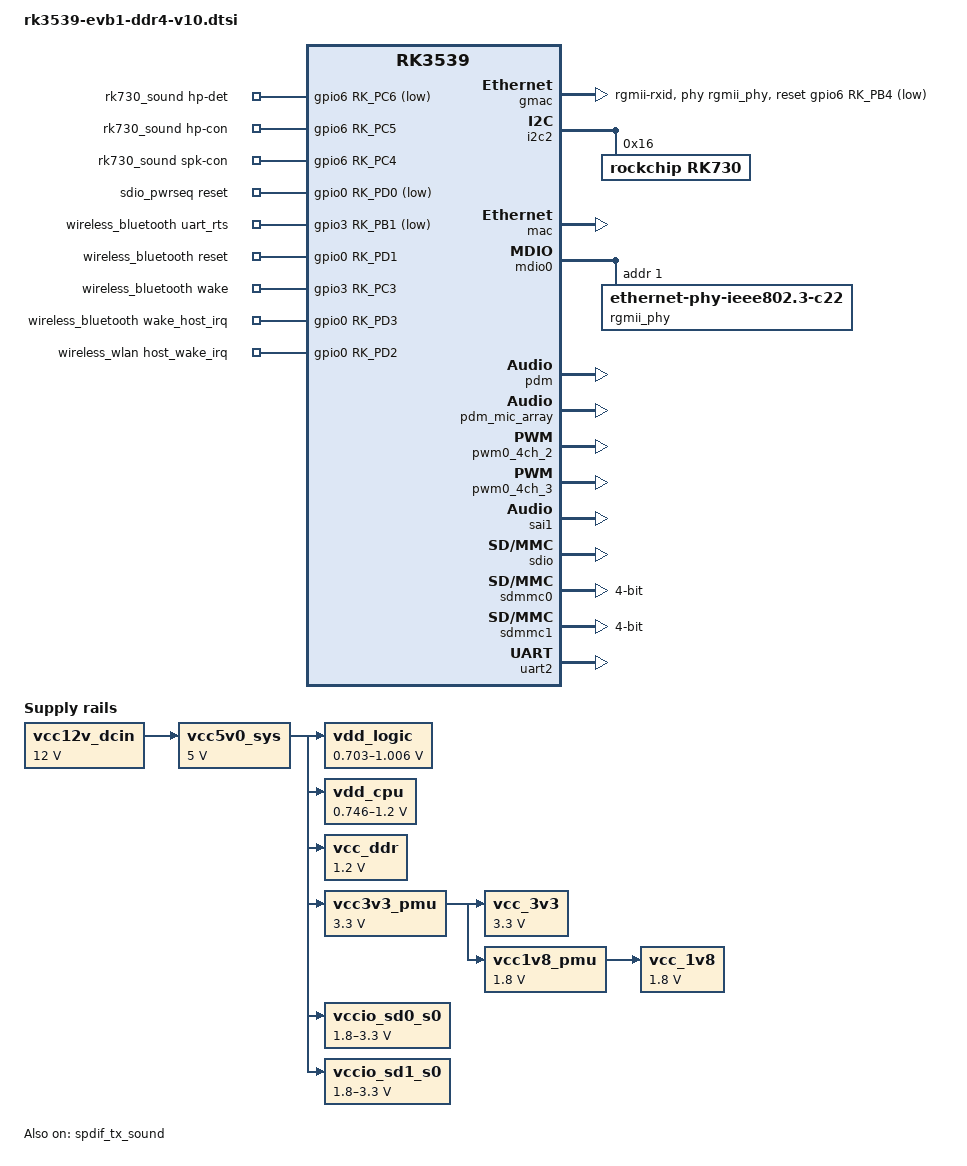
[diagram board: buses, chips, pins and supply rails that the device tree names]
// SPDX-License-Identifier: (GPL-2.0+ OR MIT)
/*
 * Copyright (c) 2025 Rockchip Electronics Co., Ltd.
 *
 */

/dts-v1/;

#include "rk3539.dtsi"
#include "rk3538-evb.dtsi"
#include "rk3538-evb-input-keymap.dtsi"

/{
	rk730_sound: rk730-sound {
		compatible = "rockchip,multicodecs-card";
		rockchip,card-name = "rockchip-rk730";
		hp-det-gpio = <&gpio6 RK_PC6 GPIO_ACTIVE_LOW>;
		hp-con-gpio = <&gpio6 RK_PC5 GPIO_ACTIVE_HIGH>;
		spk-con-gpio = <&gpio6 RK_PC4 GPIO_ACTIVE_HIGH>;
		rockchip,pre-power-on-delay-ms = <30>;
		rockchip,post-power-down-delay-ms = <40>;
		rockchip,format = "i2s";
		rockchip,mclk-fs = <256>;
		rockchip,cpu = <&sai1>;
		rockchip,codec = <&rk730>;
		rockchip,audio-routing =
				"Headphone", "LOUT1",
				"Headphone", "ROUT1",
				"Speaker", "LOUT2",
				"Speaker", "ROUT2",
				"Headphone", "Headphone Power",
				"Headphone", "Headphone Power",
				"Speaker", "Speaker Power",
				"Speaker", "Speaker Power",
				"MIC2", "Main Mic",
				"MIC1", "Headset Mic";
		pinctrl-names = "default";
		pinctrl-0 = <&hp_con_h &hp_det_l &spk_con_h>;
	};

	sdio_pwrseq: sdio-pwrseq {
		compatible = "mmc-pwrseq-simple";
		pinctrl-names = "default";
		pinctrl-0 = <&wifi_enable_h &clk_32km0_pins>;
		post-power-on-delay-ms = <200>;
		reset-gpios = <&gpio0 RK_PD0 GPIO_ACTIVE_LOW>;
		status = "okay";
	};

	vcc12v_dcin: vcc12v-dcin {
		compatible = "regulator-fixed";
		regulator-name = "vcc12v_dcin";
		regulator-always-on;
		regulator-boot-on;
		regulator-min-microvolt = <12000000>;
		regulator-max-microvolt = <12000000>;
	};

	vcc5v0_sys: vcc5v0-sys {
		compatible = "regulator-fixed";
		regulator-name = "vcc5v0_sys";
		regulator-always-on;
		regulator-boot-on;
		regulator-min-microvolt = <5000000>;
		regulator-max-microvolt = <5000000>;
		vin-supply = <&vcc12v_dcin>;
	};

	vdd_logic: vdd-logc {
		compatible = "pwm-regulator";
		pwms = <&pwm0_4ch_2 0 25000 1>;
		regulator-name = "vdd_logic";
		regulator-init-microvolt = <901000>;
		regulator-min-microvolt = <703000>;
		regulator-max-microvolt = <1006000>;
		regulator-settling-time-up-us = <250>;
		regulator-always-on;
		regulator-boot-on;
		pwm-supply = <&vcc5v0_sys>;
	};

	vdd_cpu: vdd-cpu {
		compatible = "pwm-regulator";
		pwms = <&pwm0_4ch_3 0 25000 1>;
		regulator-name = "vdd_cpu";
		regulator-init-microvolt = <953000>;
		regulator-min-microvolt = <746000>;
		regulator-max-microvolt = <1200000>;
		regulator-settling-time-up-us = <250>;
		regulator-always-on;
		regulator-boot-on;
		pwm-supply = <&vcc5v0_sys>;
	};

	vcc_ddr: vcc-ddr {
		compatible = "regulator-fixed";
		regulator-name = "vcc_ddr";
		regulator-min-microvolt = <1200000>;
		regulator-max-microvolt = <1200000>;
		enable-active-low;
		regulator-boot-on;
		vin-supply = <&vcc5v0_sys>;
	};

	vcc3v3_pmu: vcc3v3-pmu {
		compatible = "regulator-fixed";
		regulator-name = "vcc3v3_pmu";
		regulator-min-microvolt = <3300000>;
		regulator-max-microvolt = <3300000>;
		enable-active-low;
		regulator-boot-on;
		vin-supply = <&vcc5v0_sys>;
	};

	vcc_3v3: vcc_3v3 {
		compatible = "regulator-fixed";
		regulator-name = "vcc_3v3";
		regulator-min-microvolt = <3300000>;
		regulator-max-microvolt = <3300000>;
		enable-active-low;
		regulator-boot-on;
		vin-supply = <&vcc3v3_pmu>;
	};

	vcc1v8_pmu: vcc1v8-pmu {
		compatible = "regulator-fixed";
		regulator-name = "vcc1v8_pmu";
		regulator-min-microvolt = <1800000>;
		regulator-max-microvolt = <1800000>;
		enable-active-low;
		regulator-boot-on;
		vin-supply = <&vcc3v3_pmu>;
	};

	vcc_1v8: vcc-1v8 {
		compatible = "regulator-fixed";
		regulator-name = "vcc_1v8";
		regulator-min-microvolt = <1800000>;
		regulator-max-microvolt = <1800000>;
		enable-active-low;
		regulator-boot-on;
		vin-supply = <&vcc1v8_pmu>;
	};

	vccio_sd0_s0: vccio-sd0-s0 {
		compatible = "regulator-gpio";
		regulator-name = "vccio_sd0_s0";
		regulator-min-microvolt = <1800000>;
		regulator-max-microvolt = <3300000>;
		gpios = <&gpio6 RK_PA7 GPIO_ACTIVE_HIGH>;
		vin-supply = <&vcc5v0_sys>;
		states = <1800000 0x0
			  3300000 0x1>;
	};

	vccio_sd1_s0: vccio-sd1-s0 {
		compatible = "regulator-gpio";
		regulator-name = "vccio_sd1_s0";
		regulator-min-microvolt = <1800000>;
		regulator-max-microvolt = <3300000>;
		gpios = <&gpio6 RK_PB0 GPIO_ACTIVE_HIGH>;
		vin-supply = <&vcc5v0_sys>;
		states = <1800000 0x0
			  3300000 0x1>;
	};

	wireless_bluetooth: wireless-bluetooth {
		compatible = "bluetooth-platdata";
		uart_rts_gpios = <&gpio3 RK_PB1 GPIO_ACTIVE_LOW>;
		pinctrl-names = "default", "rts_gpio";
		pinctrl-0 = <&uart2m0_rtsn_pins>;
		pinctrl-1 = <&uart2m0_gpios>;
		BT,reset_gpio    = <&gpio0 RK_PD1 GPIO_ACTIVE_HIGH>;
		BT,wake_gpio     = <&gpio3 RK_PC3 GPIO_ACTIVE_HIGH>;
		BT,wake_host_irq = <&gpio0 RK_PD3 GPIO_ACTIVE_HIGH>;
		status = "okay";
	};

	wireless_wlan: wireless-wlan {
		compatible = "wlan-platdata";
		wifi_chip_type = "ap6275s";
		pinctrl-names = "default";
		pinctrl-0 = <&wifi_host_wake_irq>;
		WIFI,host_wake_irq = <&gpio0 RK_PD2 GPIO_ACTIVE_HIGH>;
		status = "okay";
	};
};

&cpu0 {
	cpu-supply = <&vdd_cpu>;
};

&cpu2 {
	cpu-supply = <&vdd_cpu>;
};

&gmac {
	/* Use rgmii-rxid mode to disable rx delay inside Soc */
	phy-mode = "rgmii-rxid";
	clock_in_out = "output";

	snps,reset-gpio = <&gpio6 RK_PB4 GPIO_ACTIVE_LOW>;
	snps,reset-active-low;
	/* Reset time is 20ms, 100ms for rtl8211f */
	snps,reset-delays-us = <0 20000 100000>;

	tx_delay = <0x29>;
	/* rx_delay = <0x1a>; */

	pinctrl-names = "default";
	pinctrl-0 = <&eth0_miim_pins
		     &eth0_tx_bus2_pins
		     &eth0_rx_bus2_pins
		     &eth0_rgmii_clk_pins
		     &eth0_rgmii_bus_pins
		     &eth0m0_clk_25m_out_pins>;

	phy-handle = <&rgmii_phy>;
	status = "okay";
};

&gpu {
	mali-supply = <&vdd_logic>;
};

&i2c2 {
	status = "okay";

	pinctrl-names = "default";
	pinctrl-0 = <&i2c2m2_pins>;

	rk730: rk730@16 {
		#sound-dai-cells = <0>;
		compatible = "rockchip,rk730";
		reg = <0x16>;
		clocks = <&mclkout_sai1>;
		clock-names = "mclk";
		assigned-clocks = <&mclkout_sai1>;
		assigned-clock-rates = <12288000>;
		pinctrl-names = "default";
		pinctrl-0 = <&sai1m0_mclk_pins>;
	};
};

&mac {
	status = "okay";
};

&mdio0 {
	rgmii_phy: phy@1 {
		compatible = "ethernet-phy-ieee802.3-c22";
		reg = <0x1>;
		clocks = <&cru ETH0_CLK_25M_OUT>;
	};
};

&pdm {
	pinctrl-0 = <&pdmm0_sdi1_pins>;
	pinctrl-1 = <&pdmm0_clk0_idle>;
	pinctrl-2 = <&pdmm0_clk0_pins>;
	rockchip,path-map = <1 0 2 3>;
	status = "okay";
};

&pdm_mic_array {
	status = "okay";
};

&pinctrl {
	audio-amplifier {
		spk_con_h: spk-con-h {
			rockchip,pins = <6 RK_PC4 RK_FUNC_GPIO &pcfg_pull_none>;
		};
	};

	headphone-jack {
		hp_con_h: hp-con-h {
			rockchip,pins = <6 RK_PC5 RK_FUNC_GPIO &pcfg_pull_none>;
		};

		hp_det_l: hp-det-l {
			rockchip,pins = <6 RK_PC6 RK_FUNC_GPIO &pcfg_pull_up>;
		};
	};

	sdio-pwrseq {
		wifi_enable_h: wifi-enable-h {
			rockchip,pins = <0 RK_PD0 RK_FUNC_GPIO &pcfg_pull_none>;
		};
	};

	wireless-bluetooth {
		uart2m0_gpios: uart2m0-gpios {
			rockchip,pins = <3 RK_PB1 RK_FUNC_GPIO &pcfg_pull_none>;
		};
	};

	wireless-wlan {
		wifi_host_wake_irq: wifi-host-wake-irq {
			rockchip,pins = <0 RK_PD2 RK_FUNC_GPIO &pcfg_pull_down>;
		};
	};
};

&pwm0_4ch_2 {
	status = "okay";
};

&pwm0_4ch_3 {
	pinctrl-0 = <&pwm0m1_ch3_pins>;
	status = "okay";
};

&sai1 {
	status = "okay";
	pinctrl-names = "default";
	pinctrl-0 = <&sai1m0_lrck_pins
		     &sai1m0_sclk_pins
		     &sai1m0_sdi0_pins
		     &sai1m0_sdo0_pins>;
};

&sdio {
	mmc-pwrseq = <&sdio_pwrseq>;
	status = "okay";
};

&sdmmc0 {
	bus-width = <4>;
	cap-mmc-highspeed;
	cap-sd-highspeed;
	disable-wp;
	no-sdio;
	no-mmc;
	max-frequency = <200000000>;
	pinctrl-names = "default";
	pinctrl-0 = <&sdmmc0_clk_pins &sdmmc0_cmd_pins &sdmmc0_detn_pins &sdmmc0_bus4_pins &sdmmc0_pwren_pins>;
	sd-uhs-sdr12;
	sd-uhs-sdr25;
	sd-uhs-sdr50;
	sd-uhs-sdr104;
	vqmmc-supply = <&vccio_sd0_s0>;
	status = "okay";
};

&sdmmc1 {
	bus-width = <4>;
	cap-mmc-highspeed;
	cap-sd-highspeed;
	disable-wp;
	no-sdio;
	no-mmc;
	max-frequency = <200000000>;
	pinctrl-names = "default";
	pinctrl-0 = <&sdmmc1_clk_pins &sdmmc1_cmd_pins &sdmmc1_detn_pins &sdmmc1_bus4_pins &sdmmc1_pwren_pins>;
	sd-uhs-sdr12;
	sd-uhs-sdr25;
	sd-uhs-sdr50;
	sd-uhs-sdr104;
	vqmmc-supply = <&vccio_sd1_s0>;
	status = "okay";
};

&spdif_tx_sound {
	status = "okay";
};

&uart2 {
	status = "okay";
	pinctrl-names = "default";
	pinctrl-0 = <&uart2m0_xfer_pins &uart2m0_ctsn_pins>;
};
